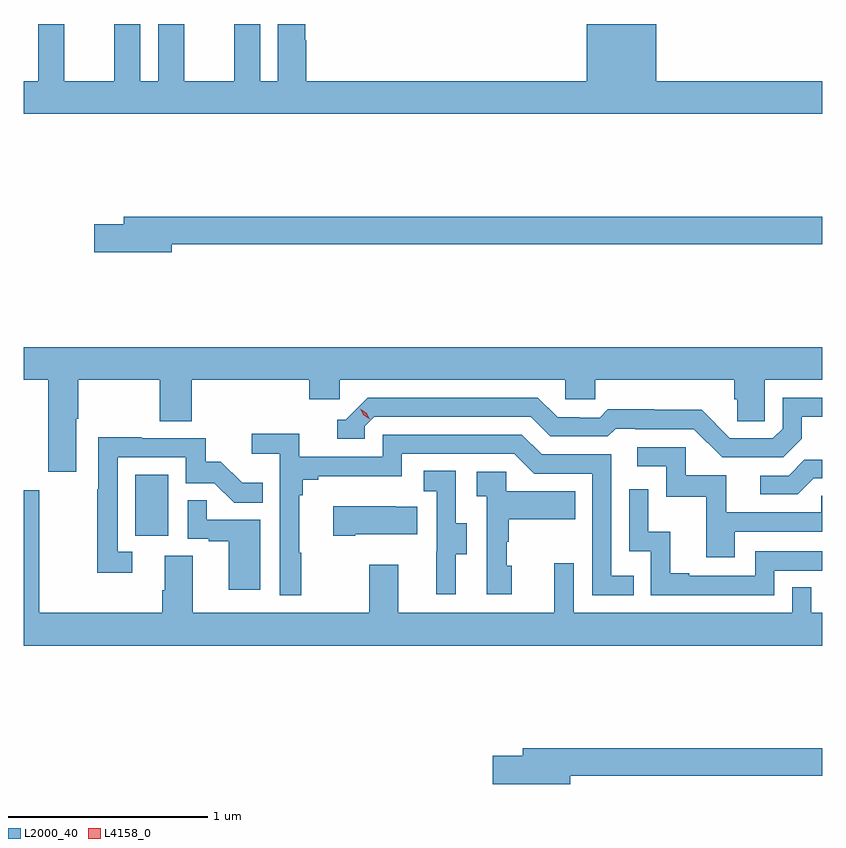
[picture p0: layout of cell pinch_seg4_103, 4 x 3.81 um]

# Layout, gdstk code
import gdstk
lib = gdstk.Library(unit=1e-6, precision=1e-09)
def R(c, l, rs):  # rectangles x0, y0, x1, y1
    for r in rs: c.add(gdstk.rectangle(r[:2], r[2:], *l))
def P(c, l, *ps):  # polygons
    for p in ps: c.add(gdstk.Polygon(p, *l))
L2000_40 = (2000, 40)
L4158_0 = (4158, 0)

pinch_seg4_103 = lib.new_cell('pinch_seg4_103')
R(pinch_seg4_103, L2000_40, [(1078.628,790.71,1078.792,791.017)])
P(pinch_seg4_103, L2000_40, [(1082.07,792.988),(1081.24,792.988),(1081.24,793.275),(1080.89,793.275),(1080.89,792.988),(1079.486,792.988),(1079.486,793.193),(1079.479,793.193),(1079.479,793.275),(1079.342,793.275),(1079.342,792.988),(1079.254,792.988),(1079.254,793.275),(1079.123,793.275),(1079.123,792.988),(1078.873,792.988),(1078.873,793.275),(1078.742,793.275),(1078.742,792.988),(1078.654,792.988),(1078.654,793.275),(1078.523,793.275),(1078.523,792.988),(1078.273,792.988),(1078.273,793.275),(1078.142,793.275),(1078.142,792.988),(1078.07,792.988),(1078.07,792.824),(1082.07,792.824)],
  [(1078.81,792.172),(1082.07,792.172),(1082.07,792.308),(1078.571,792.308),(1078.571,792.272),(1078.422,792.272),(1078.422,792.13),(1078.81,792.13)],
  [(1078.333,791.296),(1078.341,791.296),(1078.341,791.492),(1078.75,791.492),(1078.75,791.284),(1078.91,791.284),(1078.91,791.492),(1079.501,791.492),(1079.501,791.394),(1079.652,791.394),(1079.652,791.492),(1080.783,791.492),(1080.783,791.394),(1080.933,791.394),(1080.933,791.492),(1081.631,791.492),(1081.631,791.394),(1081.645,791.394),(1081.645,791.284),(1081.782,791.284),(1081.782,791.492),(1082.07,791.492),(1082.07,791.656),(1078.07,791.656),(1078.07,791.492),(1078.193,791.492),(1078.193,791.031),(1078.333,791.031)],
  [(1081.969,791.197),(1081.969,791.307),(1082.07,791.307),(1082.07,791.403),(1081.872,791.403),(1081.872,791.247),(1081.824,791.199),(1081.608,791.199),(1081.466,791.341),(1081.23,791.341),(1081.23,791.344),(1080.997,791.344),(1080.955,791.301),(1080.852,791.301),(1080.852,791.304),(1080.745,791.304),(1080.646,791.403),(1079.793,791.403),(1079.682,791.292),(1079.639,791.292),(1079.639,791.196),(1079.778,791.196),(1079.778,791.259),(1079.826,791.307),(1080.609,791.307),(1080.708,791.208),(1080.997,791.208),(1081.036,791.247),(1081.135,791.247),(1081.135,791.244),(1081.428,791.244),(1081.569,791.103),(1081.875,791.103)],
  [(1079.461,790.625),(1079.449,790.625),(1079.449,790.913),(1079.468,790.913),(1079.468,790.99),(1079.545,790.99),(1079.545,791.009),(1079.964,791.009),(1079.964,791.121),(1080.528,791.121),(1080.627,791.022),(1080.918,791.022),(1080.918,790.413),(1081.127,790.413),(1081.127,790.509),(1081.014,790.509),(1081.014,791.118),(1080.664,791.118),(1080.565,791.217),(1079.868,791.217),(1079.868,791.106),(1079.45,791.106),(1079.45,791.222),(1079.211,791.222),(1079.211,791.12),(1079.352,791.12),(1079.352,790.413),(1079.461,790.413)],
  [(1078.612,790.629),(1078.539,790.629),(1078.539,791.103),(1078.881,791.103),(1078.881,790.974),(1079.025,790.974),(1079.123,790.876),(1079.267,790.876),(1079.267,790.975),(1079.163,790.975),(1079.056,791.082),(1078.98,791.082),(1078.98,791.199),(1078.661,791.199),(1078.661,791.204),(1078.443,791.204),(1078.443,790.943),(1078.438,790.943),(1078.438,790.524),(1078.612,790.524)],
  [(1081.633,790.731),(1082.07,790.731),(1082.07,790.911),(1082.065,790.911),(1082.065,790.827),(1081.591,790.827),(1081.591,791.013),(1081.386,791.013),(1081.386,791.154),(1081.143,791.154),(1081.143,791.058),(1081.29,791.058),(1081.29,790.905),(1081.489,790.905),(1081.489,790.602),(1081.633,790.602)],
  [(1082.029,790.998),(1082.07,790.998),(1082.07,791.09),(1081.982,791.09),(1081.902,791.01),(1081.761,791.01),(1081.761,790.917),(1081.948,790.917)],
  [(1080.235,790.618),(1080.289,790.618),(1080.289,790.773),(1080.234,790.773),(1080.234,791.036),(1080.075,791.036),(1080.075,790.933),(1080.138,790.933),(1080.138,790.629),(1080.137,790.629),(1080.137,790.416),(1080.235,790.416)],
  [(1080.514,790.56),(1080.489,790.56),(1080.489,790.679),(1080.499,790.679),(1080.499,790.793),(1080.833,790.793),(1080.833,790.933),(1080.486,790.933),(1080.486,791.031),(1080.339,791.031),(1080.339,790.907),(1080.39,790.907),(1080.39,790.416),(1080.514,790.416)],
  [(1081.83,790.536),(1082.07,790.536),(1082.07,790.632),(1081.734,790.632),(1081.734,790.509),(1081.405,790.509),(1081.405,790.522),(1081.31,790.522),(1081.31,790.73),(1081.2,790.73),(1081.2,790.942),(1081.104,790.942),(1081.104,790.632),(1081.212,790.632),(1081.212,790.413),(1081.83,790.413)],
  [(1079.8,790.564),(1079.8,790.324),(1078.915,790.324),(1078.915,790.61),(1078.775,790.61),(1078.775,790.436),(1078.763,790.436),(1078.763,790.324),(1078.147,790.324),(1078.147,790.939),(1078.07,790.939),(1078.07,790.16),(1082.07,790.16),(1082.07,790.324),(1082.016,790.324),(1082.016,790.451),(1081.92,790.451),(1081.92,790.324),(1080.825,790.324),(1080.825,790.573),(1080.728,790.573),(1080.728,790.324),(1079.947,790.324),(1079.947,790.564)],
  [(1079.254,790.791),(1078.985,790.791),(1078.985,790.889),(1078.89,790.889),(1078.89,790.695),(1078.997,790.695),(1078.997,790.683),(1079.096,790.683),(1079.096,790.44),(1079.254,790.44)],
  [(1079.731,790.718),(1080.041,790.718),(1080.041,790.855),(1079.933,790.855),(1079.933,790.858),(1079.619,790.858),(1079.619,790.711),(1079.731,790.711)],
  [(1080.808,789.508),(1082.07,789.508),(1082.07,789.644),(1080.569,789.644),(1080.569,789.608),(1080.42,789.608),(1080.42,789.466),(1080.808,789.466)])
P(pinch_seg4_103, L4158_0, [(1079.803,791.293),(1079.772,791.313),(1079.755,791.346),(1079.755,791.346),(1079.756,791.346),(1079.786,791.326),(1079.803,791.294),(1079.803,791.293)])

lib.write_gds('pinch_seg4_103.gds')
